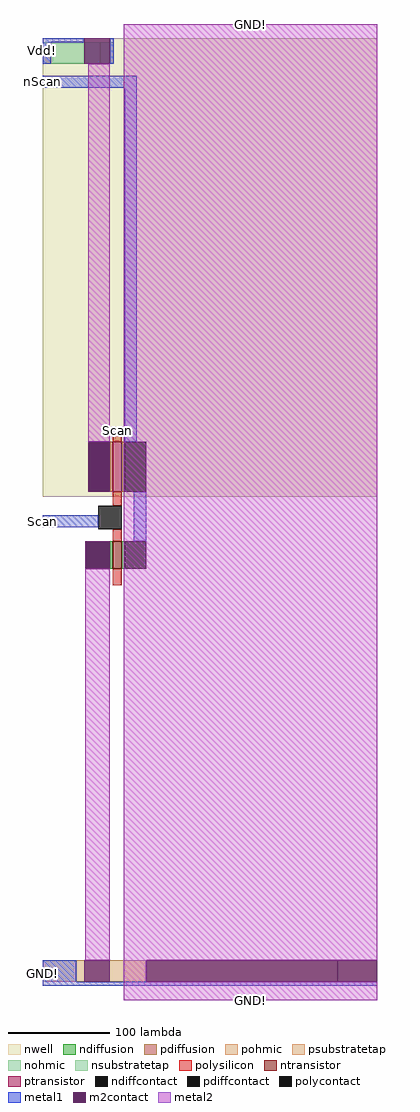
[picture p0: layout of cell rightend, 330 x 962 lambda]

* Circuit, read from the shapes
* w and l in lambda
.subckt rightend GND! Scan Vdd! nScan
M1 nScan Scan GND! VSUBS nfet w=27 l=9
M2 nScan Scan Vdd! n1 pfet w=49 l=9
.ends

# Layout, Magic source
magic
tech tsmc180
<< nwell >>
rect 0 496 330 948
<< polysilicon >>
rect 69 550 78 561
rect 69 487 78 501
rect 69 452 78 464
rect 69 409 78 425
<< ndiffusion >>
rect 66 425 69 452
rect 78 425 81 452
<< pdiffusion >>
rect 66 501 69 550
rect 78 501 81 550
<< pohmic >>
rect 0 18 33 39
rect 291 18 330 39
<< nohmic >>
rect 0 923 8 944
rect 57 923 70 944
<< ntransistor >>
rect 69 425 78 452
<< ptransistor >>
rect 69 501 78 550
<< polycontact >>
rect 55 464 78 487
<< ndiffcontact >>
rect 42 425 66 452
rect 81 425 102 452
<< pdiffcontact >>
rect 45 501 66 550
rect 81 501 102 550
<< psubstratetap >>
rect 33 18 291 39
<< nsubstratetap >>
rect 8 923 57 944
<< metal1 >>
rect 0 944 41 948
rect 0 923 8 944
rect 66 923 70 948
rect 0 899 93 911
rect 81 550 93 899
rect 0 466 55 478
rect 90 452 102 501
rect 0 18 33 39
rect 0 14 330 18
<< m2contact >>
rect 41 944 66 948
rect 41 923 57 944
rect 57 923 66 944
rect 45 501 66 550
rect 42 425 66 452
rect 41 18 66 39
rect 102 18 291 39
rect 291 18 330 39
<< metal2 >>
rect 45 550 66 923
rect 42 39 66 425
rect 80 39 330 962
rect 80 18 102 39
rect 80 0 330 18
<< labels >>
rlabel polysilicon 74 561 74 561 1 Scan
rlabel metal2 80 962 330 962 5 GND!
rlabel metal2 80 0 330 0 1 GND!
rlabel metal1 0 899 0 911 3 nScan
rlabel metal1 0 466 0 478 3 Scan
rlabel metal1 0 14 0 39 3 GND!
rlabel metal1 0 923 0 948 7 Vdd!
<< end >>
